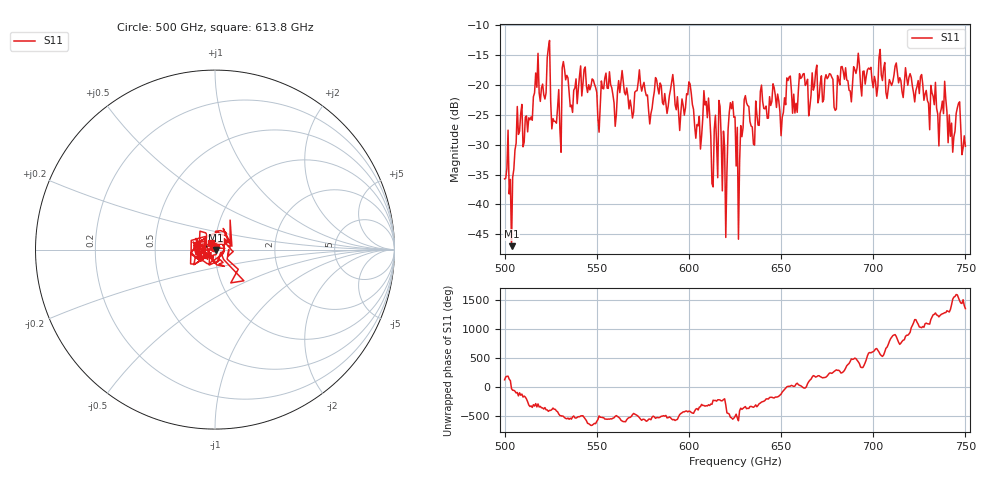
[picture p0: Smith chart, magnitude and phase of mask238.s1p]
!Created with skrf (http://scikit-rf.org).
# GHz S MA R 50.0
!freq magS11 angS11
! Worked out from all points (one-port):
!   401 points, 500 GHz to 750 GHz, reference 50 ohm
!   lowest |S11| = -47.0 dB at 503.8 GHz (marker M1), VSWR 1.01, Z = 50.4 - j0.257 ohm
!   |S11| at or under -10 dB: start of sweep to end of sweep
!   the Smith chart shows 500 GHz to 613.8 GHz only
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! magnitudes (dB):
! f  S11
! 500 GHz  -35.7
! 503.8 GHz  -47.0
! 508.1 GHz  -27.7
! 513.8 GHz  -25.8
! 516.9 GHz  -18.0
! 523.8 GHz  -13.8
! 526.9 GHz  -26.1
! 531.2 GHz  -17.1
! 532.5 GHz  -17.3
! 562.5 GHz  -21.3
! 593.8 GHz  -21.9
! 600 GHz  -19.5
! 605 GHz  -26.8
! 609.4 GHz  -22.7
! 612.5 GHz  -36.5
! 617.5 GHz  -28.6
! 619.4 GHz  -30.5
! 622.5 GHz  -22.9
! 625 GHz  -25.3
! 626.9 GHz  -45.8
! 631.2 GHz  -23.0
! 634.4 GHz  -27.0
! 656.2 GHz  -24.7
! 687.5 GHz  -21.0
! 718.8 GHz  -20.0
! 743.1 GHz  -31.2
! 746.2 GHz  -23.1
! 750 GHz  -30.3
